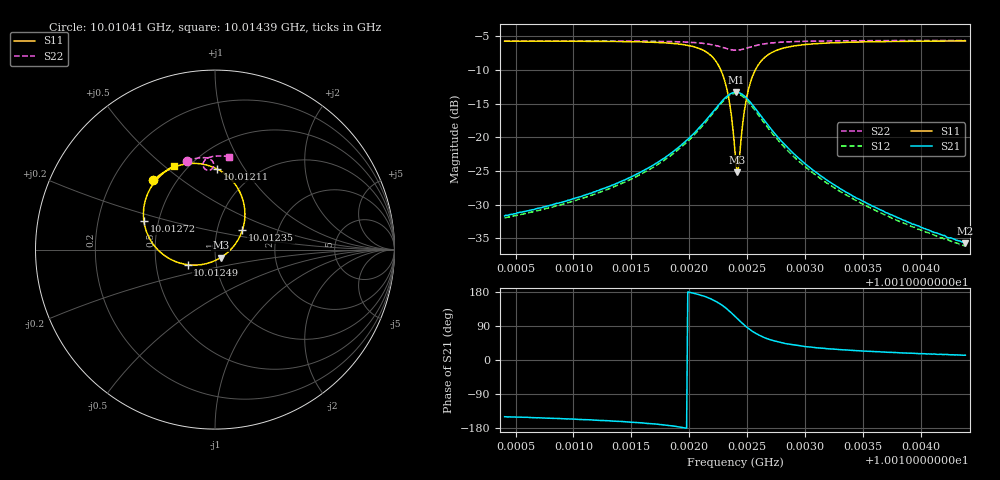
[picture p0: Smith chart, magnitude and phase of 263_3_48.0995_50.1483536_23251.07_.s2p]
#  HZ  S  RI  R  50.00
! Rohde & Schwarz Vector Network Analyzer
! Rohde-Schwarz,ZNB20-2Port,1311601062101988,3.16
! Created: UTC 12/23/2023, 4:01:00 AM
! freq[Hz]  re:S11  im:S11  re:S21  im:S21  re:S12  im:S12  re:S22  im:S22
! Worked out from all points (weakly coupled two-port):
!   401 points, 10.01041 GHz to 10.01439 GHz, reference 50 ohm
!   highest |S21| = -13.29 dB at 10.01241 GHz (marker M1); lowest = -35.7 dB at 10.01439 GHz (marker M2)
!   lowest |S11| = -25.2 dB at 10.01242 GHz (marker M3), VSWR 1.12, Z = 53.1 - j4.74 ohm
!   |S11| at or under -10 dB: 10.01227 GHz to 10.01257 GHz (298.3 kHz wide, 0.00298 % of centre)
!   |S22| runs from -7.1 to -5.6 dB; largest |S21 - S12| = 0.01
!   S11 on the Smith chart (normalised r, x): 10.01041 GHz: 0.37, +0.40; 10.01211 GHz: 0.68, +0.76; 10.01235 GHz: 1.32, +0.29; 10.01249 GHz: 0.73, -0.13; 10.01272 GHz: 0.41, +0.16; 10.01439 GHz: 0.42, +0.54
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1.0010405e10  -0.3428 0.3876  -0.0226 -0.0132  -0.021 -0.0139  -0.1569 0.495
1.0011072e10  -0.2861 0.4304  -0.0337 -0.0141  -0.0318 -0.0154  -0.1126 0.5071
1.0011739e10  -0.1727 0.4754  -0.0653 -0.0115  -0.0621 -0.0144  -0.0604 0.5126
1.0011949e10  -0.0923 0.4793  -0.0902 -0.0025  -0.0868 -0.00721  -0.0395 0.5093
1.0012108e10  0.0123 0.4489  -0.1214 0.0207  -0.1189 0.013  -0.0205 0.4998
1.0012188e10  0.0838 0.3971  -0.1403 0.0471  -0.1392 0.0383  -0.0116 0.4887
1.0012257e10  0.1449 0.3056  -0.1515 0.0873  -0.1524 0.0776  -0.00713 0.4741
1.0012307e10  0.1668 0.2043  -0.1484 0.1262  -0.1513 0.117  -0.00945 0.4604
1.0012347e10  0.1524 0.1074  -0.1321 0.1606  -0.136 0.1522  -0.0162 0.4504
1.0012367e10  0.1307 0.0581  -0.1187 0.1765  -0.1234 0.1682  -0.0216 0.4461
1.0012397e10  0.078 -0.00927  -0.0919 0.1957  -0.0975 0.1882  -0.0315 0.4424
1.0012407e10  0.0549 -0.0289  -0.0814 0.2005  -0.0871 0.1934  -0.0349 0.4423
1.0012417e10  0.0325 -0.0444  -0.0719 0.204  -0.0767 0.1969  -0.0385 0.4421
1.0012436e10  -0.0193 -0.0693  -0.0508 0.2076  -0.0549 0.2012  -0.0453 0.4434
1.0012486e10  -0.1526 -0.084  0.000622 0.2  -0.0051 0.1937  -0.059 0.4525
1.0012526e10  -0.2431 -0.0561  0.0318 0.181  0.0255 0.1756  -0.065 0.4628
1.0012576e10  -0.3205 0.00122  0.0547 0.1529  0.0481 0.1484  -0.0664 0.4757
1.0012715e10  -0.3963 0.1582  0.0696 0.0895  0.063 0.0877  -0.0554 0.4994
1.0012865e10  -0.3918 0.2597  0.0611 0.0543  0.0558 0.0542  -0.0392 0.5108
1.0013064e10  -0.3644 0.3331  0.0481 0.032  0.0444 0.0326  -0.0199 0.5173
1.0013731e10  -0.2849 0.4284  0.0254 0.00935  0.0237 0.0102  0.0326 0.5216
1.0014388e10  -0.2273 0.4676  0.016 0.0036  0.015 0.00423  0.0778 0.5181
